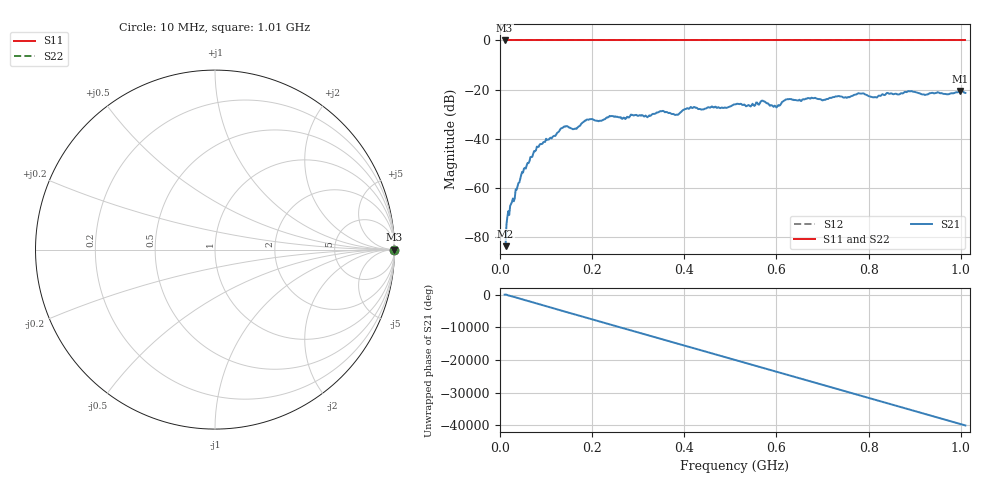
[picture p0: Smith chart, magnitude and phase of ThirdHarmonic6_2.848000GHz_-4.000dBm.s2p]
! 8/17/2025 7:41:20 AM
! C:\ANRITSUVNA\TEMP\TEMP.S2P
! CHANNEL.1
! TR.MEASUREMENT
! RAW.DATA
! RF.CORRECTION.OFF
! AVERAGING.OFF
! IF.BANDWIDTH: 5KHZ
! SWEEPTYPE:  FREQ.SWEEP(Linear)
! Reference Plane Port Info
! PORT:  PORT1  PORT2
! DISTANCE:  0  m  0  m
! TIME:  0  s  0  s
! PHASE.OFFSET:  0  deg.  0  deg.
! LOSS:  0  dB  0  dB
! REF.LOSS:  0  dB  0  dB
! REF.FREQ:  0  Hz  0  Hz
! Power Info
! POWER:  -20  dBm  -20  dBm
! EFF.POWER:  -20  dBm  -20  dBm
! SOURCE.ATTEN:  0  dB  0  dB
! TEST.ATTEN:  0  dB  0  dB
# GHZ S RI R 50.0
! FREQ.GHZ  S11RE  S11IM  S21RE  S21IM  S12RE  S12IM  S22RE  S22IM
!; PortSelection: Port_12
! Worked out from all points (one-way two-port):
!   501 points, 10 MHz to 1.01 GHz, reference 50 ohm
!   highest |S21| = -20.63 dB at 998 MHz (marker M1); lowest = -83.8 dB at 12 MHz (marker M2)
!   lowest |S11| = 0.0 dB at 10 MHz (marker M3)
!   |S11| at or under -10 dB: nowhere
!   |S22| runs from 0.0 to 0.0 dB; largest |S21 - S12| = 1.1
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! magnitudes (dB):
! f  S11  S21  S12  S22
! 10 MHz  0.0  -83.0  0.0  0.0
! 12 MHz  0.0  -83.8  0.0  0.0
! 20 MHz  0.0  -71.1  0.0  0.0
! 44 MHz  0.0  -56.3  0.0  0.0
! 78 MHz  0.0  -44.7  0.0  0.0
! 136 MHz  0.0  -35.6  0.0  0.0
! 162 MHz  0.0  -36.0  0.0  0.0
! 178 MHz  0.0  -33.7  0.0  0.0
! 344 MHz  0.0  -29.2  0.0  0.0
! 384 MHz  0.0  -30.2  0.0  0.0
! 418 MHz  0.0  -27.5  0.0  0.0
! 510 MHz  0.0  -26.0  0.0  0.0
! 548 MHz  0.0  -25.8  0.0  0.0
! 570 MHz  0.0  -24.5  0.0  0.0
! 598 MHz  0.0  -26.8  0.0  0.0
! 624 MHz  0.0  -23.9  0.0  0.0
! 678 MHz  0.0  -23.4  0.0  0.0
! 780 MHz  0.0  -21.6  0.0  0.0
! 814 MHz  0.0  -23.1  0.0  0.0
! 844 MHz  0.0  -21.7  0.0  0.0
! 998 MHz  0.0  -20.6  0.0  0.0
! 1.01 GHz  0.0  -21.4  0.0  0.0
